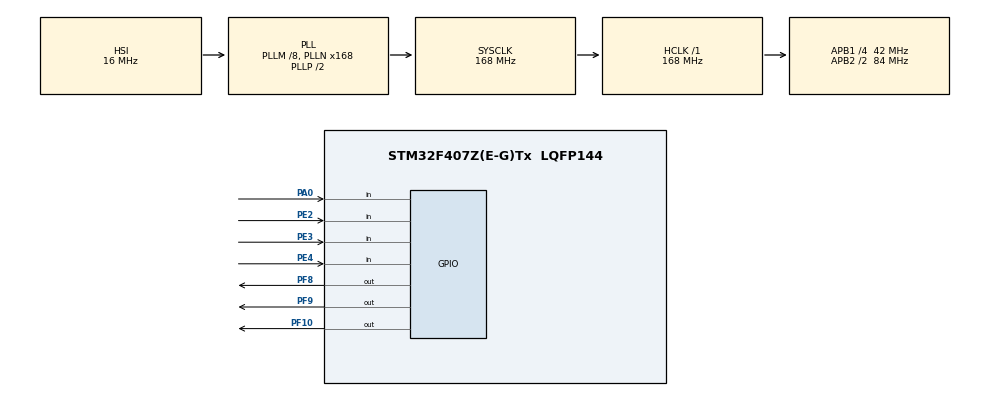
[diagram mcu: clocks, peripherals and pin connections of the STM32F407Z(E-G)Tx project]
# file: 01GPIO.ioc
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FREERTOS.Tasks01=defaultTask,24,128,StartDefaultTask,Default,NULL,Dynamic,NULL,NULL;myTask02,8,128,StartTask02,Default,NULL,Dynamic,NULL,NULL;myTask03,8,128,StartTask03,Default,NULL,Dynamic,NULL,NULL;myTask04,8,128,StartTask04,Default,NULL,Dynamic,NULL,NULL;myTask05,8,128,StartTask05,Default,NULL,Dynamic,NULL,NULL
FREERTOS.configUSE_NEWLIB_REENTRANT=1
Mcu.Family=STM32F4
Mcu.Name=STM32F407Z(E-G)Tx
Mcu.Package=LQFP144
NVIC.PriorityGroup=NVIC_PRIORITYGROUP_4
NVIC.TIM1_UP_TIM10_IRQn=true\:15\:0\:false\:false\:true\:false\:false\:true\:true
NVIC.TimeBase=TIM1_UP_TIM10_IRQn
NVIC.TimeBaseIP=TIM1
PA0-WKUP.GPIO_PuPd=GPIO_PULLDOWN
PA0-WKUP.Signal=GPIO_Input
PA13.Mode=Serial_Wire
PA13.Signal=SYS_JTMS-SWDIO
PA14.Mode=Serial_Wire
PA14.Signal=SYS_JTCK-SWCLK
PC14-OSC32_IN.Mode=LSE-External-Oscillator
PC14-OSC32_IN.Signal=RCC_OSC32_IN
PC15-OSC32_OUT.Mode=LSE-External-Oscillator
PC15-OSC32_OUT.Signal=RCC_OSC32_OUT
PE2.GPIO_PuPd=GPIO_PULLUP
PE2.Signal=GPIO_Input
PE3.GPIO_PuPd=GPIO_PULLUP
PE3.Signal=GPIO_Input
PE4.GPIO_PuPd=GPIO_PULLUP
PE4.Signal=GPIO_Input
PF10.GPIO_PuPd=GPIO_PULLUP
PF10.PinState=GPIO_PIN_SET
PF10.Signal=GPIO_Output
PF8.GPIO_PuPd=GPIO_PULLUP
PF8.PinState=GPIO_PIN_SET
PF8.Signal=GPIO_Output
PF9.GPIO_PuPd=GPIO_PULLUP
PF9.PinState=GPIO_PIN_SET
PF9.Signal=GPIO_Output
PH0-OSC_IN.Mode=HSE-External-Oscillator
PH0-OSC_IN.Signal=RCC_OSC_IN
PH1-OSC_OUT.Mode=HSE-External-Oscillator
PH1-OSC_OUT.Signal=RCC_OSC_OUT
ProjectManager.HeapSize=0x200
ProjectManager.StackSize=0x400
ProjectManager.TargetToolchain=STM32CubeIDE
RCC.48MHZClocksFreq_Value=84000000
RCC.AHBFreq_Value=168000000
RCC.APB1CLKDivider=RCC_HCLK_DIV4
RCC.APB1Freq_Value=42000000
RCC.APB1TimFreq_Value=84000000
RCC.APB2CLKDivider=RCC_HCLK_DIV2
RCC.APB2Freq_Value=84000000
RCC.APB2TimFreq_Value=168000000
RCC.CortexFreq_Value=168000000
RCC.HCLKFreq_Value=168000000
RCC.HSE_VALUE=8000000
RCC.HSI_VALUE=16000000
RCC.PLLM=8
RCC.PLLN=168
RCC.SYSCLKFreq_VALUE=168000000
RCC.SYSCLKSource=RCC_SYSCLKSOURCE_PLLCLK
RCC.VCOOutputFreq_Value=336000000
VP_FREERTOS_VS_CMSIS_V2.Mode=CMSIS_V2
VP_SYS_VS_tim1.Mode=TIM1
board=custom

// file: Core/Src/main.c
/* USER CODE BEGIN Header */
/**
  ******************************************************************************
  * @file           : main.c
  * @brief          : Main program body
  ******************************************************************************
  * @attention
  *
  * Copyright (c) 2025 STMicroelectronics.
  * All rights reserved.
  *
  * This software is licensed under terms that can be found in the LICENSE file
  * in the root directory of this software component.
  * If no LICENSE file comes with this software, it is provided AS-IS.
  *
  ******************************************************************************
  */
/* USER CODE END Header */
#include "main.h"
#include "cmsis_os.h"
#include "gpio.h"

void SystemClock_Config(void);
void MX_FREERTOS_Init(void);

int main(void)
{

  /* MCU Configuration--------------------------------------------------------*/

  /* Reset of all peripherals, Initializes the Flash interface and the Systick. */
  HAL_Init();

  /* Configure the system clock */
  SystemClock_Config();

  /* Initialize all configured peripherals */
  MX_GPIO_Init();

  /* Init scheduler */
  osKernelInitialize();  /* Call init function for freertos objects (in cmsis_os2.c) */
  MX_FREERTOS_Init();

  /* Start scheduler */
  osKernelStart();

  /* We should never get here as control is now taken by the scheduler */

  /* Infinite loop */
  while (1)
  {

  }
}

void SystemClock_Config(void)
{
  RCC_OscInitTypeDef RCC_OscInitStruct = {0};
  RCC_ClkInitTypeDef RCC_ClkInitStruct = {0};

  /** Configure the main internal regulator output voltage
  */
  __HAL_RCC_PWR_CLK_ENABLE();
  __HAL_PWR_VOLTAGESCALING_CONFIG(PWR_REGULATOR_VOLTAGE_SCALE1);

  /** Initializes the RCC Oscillators according to the specified parameters
  * in the RCC_OscInitTypeDef structure.
  */
  RCC_OscInitStruct.OscillatorType = RCC_OSCILLATORTYPE_HSI;
  RCC_OscInitStruct.HSIState = RCC_HSI_ON;
  RCC_OscInitStruct.HSICalibrationValue = RCC_HSICALIBRATION_DEFAULT;
  RCC_OscInitStruct.PLL.PLLState = RCC_PLL_ON;
  RCC_OscInitStruct.PLL.PLLSource = RCC_PLLSOURCE_HSI;
  RCC_OscInitStruct.PLL.PLLM = 8;
  RCC_OscInitStruct.PLL.PLLN = 168;
  RCC_OscInitStruct.PLL.PLLP = RCC_PLLP_DIV2;
  RCC_OscInitStruct.PLL.PLLQ = 4;
  if (HAL_RCC_OscConfig(&RCC_OscInitStruct) != HAL_OK)
  {
    Error_Handler();
  }

  /** Initializes the CPU, AHB and APB buses clocks
  */
  RCC_ClkInitStruct.ClockType = RCC_CLOCKTYPE_HCLK|RCC_CLOCKTYPE_SYSCLK
                              |RCC_CLOCKTYPE_PCLK1|RCC_CLOCKTYPE_PCLK2;
  RCC_ClkInitStruct.SYSCLKSource = RCC_SYSCLKSOURCE_PLLCLK;
  RCC_ClkInitStruct.AHBCLKDivider = RCC_SYSCLK_DIV1;
  RCC_ClkInitStruct.APB1CLKDivider = RCC_HCLK_DIV4;
  RCC_ClkInitStruct.APB2CLKDivider = RCC_HCLK_DIV2;

  if (HAL_RCC_ClockConfig(&RCC_ClkInitStruct, FLASH_LATENCY_5) != HAL_OK)
  {
    Error_Handler();
  }
}

void HAL_TIM_PeriodElapsedCallback(TIM_HandleTypeDef *htim)
{
  if (htim->Instance == TIM1)
  {
    HAL_IncTick();
  }
}

void Error_Handler(void)
{
  __disable_irq();
  while (1)
  {
  }
}

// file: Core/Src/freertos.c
/* USER CODE BEGIN Header */
/**
  ******************************************************************************
  * File Name          : freertos.c
  * Description        : Code for freertos applications
  ******************************************************************************
  * @attention
  *
  * Copyright (c) 2025 STMicroelectronics.
  * All rights reserved.
  *
  * This software is licensed under terms that can be found in the LICENSE file
  * in the root directory of this software component.
  * If no LICENSE file comes with this software, it is provided AS-IS.
  *
  ******************************************************************************
  */
/* USER CODE END Header */

#include "FreeRTOS.h"
#include "task.h"
#include "main.h"
#include "cmsis_os.h"

/* Definitions for defaultTask */
osThreadId_t defaultTaskHandle;
const osThreadAttr_t defaultTask_attributes = {
  .name = "defaultTask",
  .stack_size = 128 * 4,
  .priority = (osPriority_t) osPriorityNormal,
};
/* Definitions for myTask02 */
osThreadId_t myTask02Handle;
const osThreadAttr_t myTask02_attributes = {
  .name = "myTask02",
  .stack_size = 128 * 4,
  .priority = (osPriority_t) osPriorityLow,
};
/* Definitions for myTask03 */
osThreadId_t myTask03Handle;
const osThreadAttr_t myTask03_attributes = {
  .name = "myTask03",
  .stack_size = 128 * 4,
  .priority = (osPriority_t) osPriorityLow,
};
/* Definitions for myTask04 */
osThreadId_t myTask04Handle;
const osThreadAttr_t myTask04_attributes = {
  .name = "myTask04",
  .stack_size = 128 * 4,
  .priority = (osPriority_t) osPriorityLow,
};
/* Definitions for myTask05 */
osThreadId_t myTask05Handle;
const osThreadAttr_t myTask05_attributes = {
  .name = "myTask05",
  .stack_size = 128 * 4,
  .priority = (osPriority_t) osPriorityLow,
};

void StartDefaultTask(void *argument);
void StartTask02(void *argument);
void StartTask03(void *argument);
void StartTask04(void *argument);
void StartTask05(void *argument);

void MX_FREERTOS_Init(void); /* (MISRA C 2004 rule 8.1) */

void MX_FREERTOS_Init(void) {
  /* USER CODE BEGIN Init */
	HAL_GPIO_WritePin(GPIOF,GPIO_PIN_8,GPIO_PIN_RESET);
  /* USER CODE END Init */

  /* Create the thread(s) */
  /* creation of defaultTask */
  defaultTaskHandle = osThreadNew(StartDefaultTask, NULL, &defaultTask_attributes);

  /* creation of myTask02 */
  myTask02Handle = osThreadNew(StartTask02, NULL, &myTask02_attributes);

  /* creation of myTask03 */
  myTask03Handle = osThreadNew(StartTask03, NULL, &myTask03_attributes);

  /* creation of myTask04 */
  myTask04Handle = osThreadNew(StartTask04, NULL, &myTask04_attributes);

  /* creation of myTask05 */
  myTask05Handle = osThreadNew(StartTask05, NULL, &myTask05_attributes);

}

void StartDefaultTask(void *argument)
{
  /* USER CODE BEGIN StartDefaultTask */
  /* Infinite loop */
  for(;;)
  {
	  HAL_GPIO_TogglePin(GPIOF,GPIO_PIN_10);
	  osDelay(500);
  }
  /* USER CODE END StartDefaultTask */
}

void StartTask02(void *argument)
{
  /* USER CODE BEGIN StartTask02 */
  /* Infinite loop */
  for(;;)
  {
	 if(HAL_GPIO_ReadPin(GPIOE,GPIO_PIN_4)==GPIO_PIN_RESET)
	  	HAL_GPIO_WritePin(GPIOF,GPIO_PIN_9,GPIO_PIN_RESET);
	 osDelay(10);
  }
  /* USER CODE END StartTask02 */
}

void StartTask03(void *argument)
{
  /* USER CODE BEGIN StartTask03 */
  /* Infinite loop */
  for(;;)
  {
		 if(HAL_GPIO_ReadPin(GPIOE,GPIO_PIN_3)==GPIO_PIN_RESET)
		  	HAL_GPIO_WritePin(GPIOF,GPIO_PIN_9,GPIO_PIN_SET);
		 osDelay(10);
  }
  /* USER CODE END StartTask03 */
}

void StartTask04(void *argument)
{
  /* USER CODE BEGIN StartTask04 */
  /* Infinite loop */
  for(;;)
  {
		 if(HAL_GPIO_ReadPin(GPIOE,GPIO_PIN_2)==GPIO_PIN_RESET)
		  	HAL_GPIO_WritePin(GPIOF,GPIO_PIN_8,GPIO_PIN_SET);
		 osDelay(10);
  }
  /* USER CODE END StartTask04 */
}

void StartTask05(void *argument)
{
  /* USER CODE BEGIN StartTask05 */
  /* Infinite loop */
  for(;;)
  {
	 if(HAL_GPIO_ReadPin(GPIOA,GPIO_PIN_0)==GPIO_PIN_SET)
	 	 HAL_GPIO_WritePin(GPIOF,GPIO_PIN_8,GPIO_PIN_RESET);
	 osDelay(10);
  }
  /* USER CODE END StartTask05 */
}
